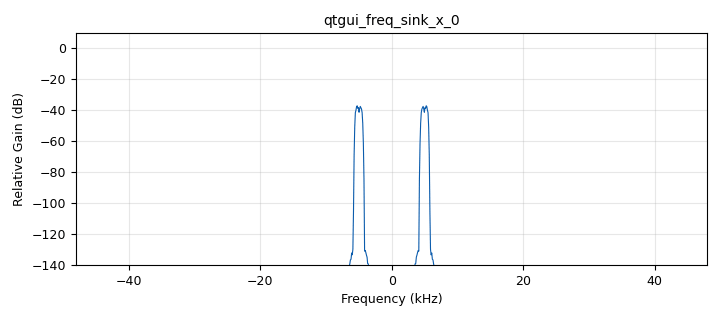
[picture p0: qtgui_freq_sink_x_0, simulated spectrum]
options:
  parameters:
    generate_options: qt_gui
    id: ex1_08
    output_language: python
    title: Figure 1.14 Band-pass ﬁlter block demonstration
  states: {}

blocks:
- name: b
  id: variable_qtgui_range
  parameters:
    comment: bandwidth
    start: '0'
    step: '1'
    stop: '10000'
    value: '1000'
  states: {}
- name: f
  id: variable_qtgui_range
  parameters:
    comment: center frequency
    start: '0'
    step: '1'
    stop: '10000'
    value: '5000'
  states: {}
- name: samp_rate
  id: variable
  parameters:
    comment: |-
      select a sampling rate
      compatible with the sound card
    value: '96000'
  states: {}
- name: analog_noise_source_x_0
  id: analog_noise_source_x
  parameters:
    amp: '1'
    noise_type: analog.GR_GAUSSIAN
    seed: '0'
    type: float
  states: {}
- name: band_pass_filter_0
  id: band_pass_filter
  parameters:
    decim: '1'
    gain: '1'
    high_cutoff_freq: f+b/2
    low_cutoff_freq: f-b/2
    samp_rate: samp_rate
    type: fir_filter_fff
    width: '1'
    win: window.WIN_HAMMING
  states: {}
- name: blocks_throttle2_0
  id: blocks_throttle2
  parameters:
    samples_per_second: samp_rate
    type: float
  states: {}
- name: qtgui_freq_sink_x_0
  id: qtgui_freq_sink_x
  parameters:
    average: '0.2'
    bw: samp_rate
    fc: '0'
    fftsize: '1024'
    type: float
  states: {}

connections:
- [analog_noise_source_x_0, '0', blocks_throttle2_0, '0']
- [band_pass_filter_0, '0', qtgui_freq_sink_x_0, '0']
- [blocks_throttle2_0, '0', band_pass_filter_0, '0']

metadata:
  file_format: 1
  grc_version: 3.10.9.2
